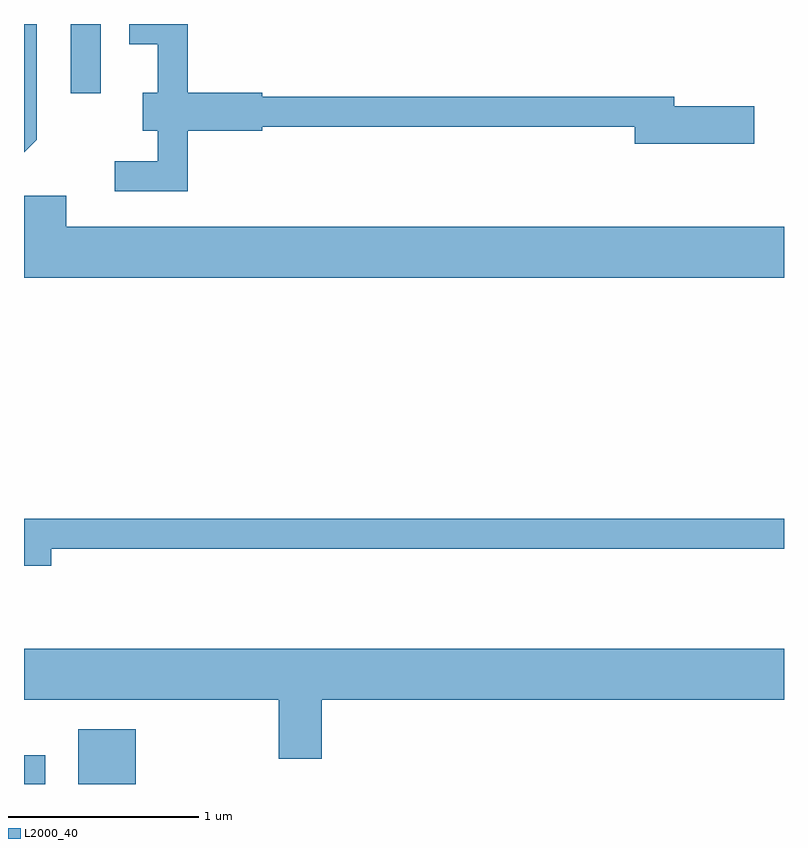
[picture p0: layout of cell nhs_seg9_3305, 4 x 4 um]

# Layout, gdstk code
import gdstk
lib = gdstk.Library(unit=1e-6, precision=1e-09)
def R(c, l, rs):  # rectangles x0, y0, x1, y1
    for r in rs: c.add(gdstk.rectangle(r[:2], r[2:], *l))
def P(c, l, *ps):  # polygons
    for p in ps: c.add(gdstk.Polygon(p, *l))
L2000_40 = (2000, 40)

nhs_seg9_3305 = lib.new_cell('nhs_seg9_3305')
R(nhs_seg9_3305, L2000_40, [(281.611,2042.432,281.724,2042.584), (281.896,2042.432,282.199,2042.719), (281.856,2046.068,282.014,2046.432)])
P(nhs_seg9_3305, L2000_40, [(281.679,2045.824),(281.679,2046.432),(281.611,2046.432),(281.611,2045.756)],
  [(282.474,2045.871),(282.864,2045.871),(282.864,2045.891),(284.826,2045.891),(284.826,2045.801),(285.454,2045.801),(285.454,2045.999),(285.034,2045.999),(285.034,2046.049),(282.864,2046.049),(282.864,2046.069),(282.474,2046.069),(282.474,2046.432),(282.166,2046.432),(282.166,2046.326),(282.316,2046.326),(282.316,2046.069),(282.236,2046.069),(282.236,2045.871),(282.316,2045.871),(282.316,2045.709),(282.088,2045.709),(282.088,2045.551),(282.474,2045.551)],
  [(285.611,2045.364),(281.834,2045.364),(281.834,2045.529),(281.611,2045.529),(281.611,2045.096),(285.611,2045.096)],
  [(281.754,2043.671),(285.611,2043.671),(285.611,2043.829),(281.611,2043.829),(281.611,2043.581),(281.754,2043.581)],
  [(283.179,2042.876),(285.611,2042.876),(285.611,2043.144),(281.611,2043.144),(281.611,2042.876),(282.951,2042.876),(282.951,2042.566),(283.179,2042.566)])

lib.write_gds('nhs_seg9_3305.gds')
